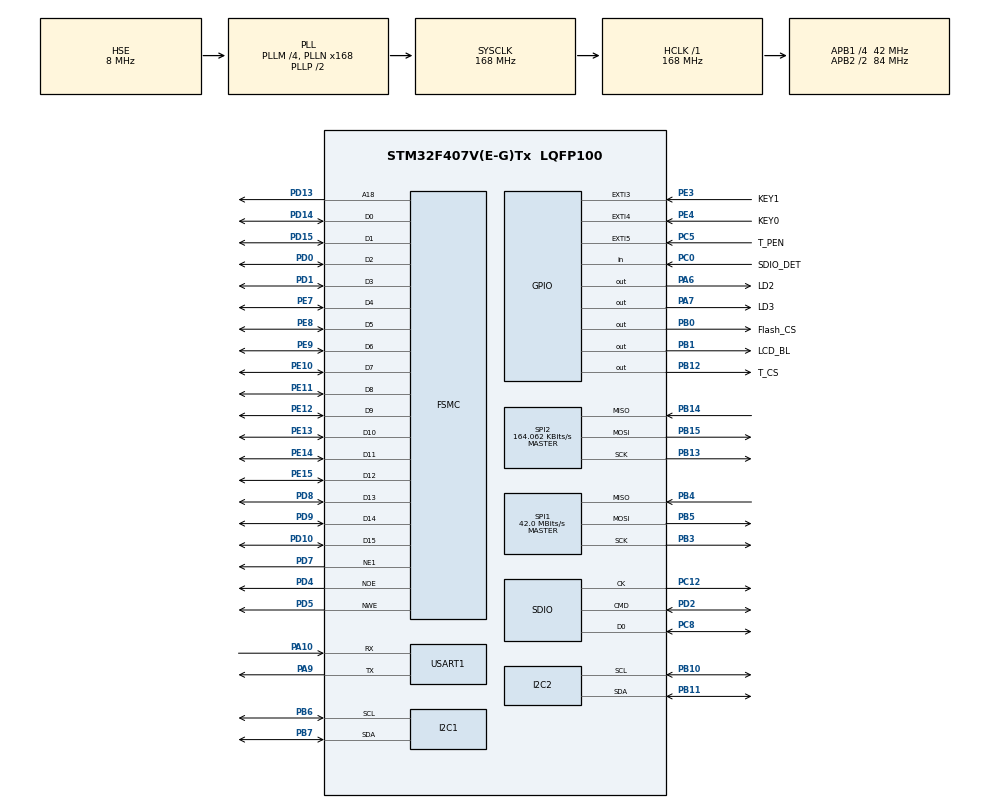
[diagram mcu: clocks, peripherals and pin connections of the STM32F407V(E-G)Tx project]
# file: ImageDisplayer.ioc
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Dma.Request0=SDIO_RX
Dma.Request1=SDIO_TX
Dma.SDIO_RX.0.Direction=DMA_PERIPH_TO_MEMORY
Dma.SDIO_RX.0.FIFOMode=DMA_FIFOMODE_ENABLE
Dma.SDIO_RX.0.FIFOThreshold=DMA_FIFO_THRESHOLD_FULL
Dma.SDIO_RX.0.Instance=DMA2_Stream3
Dma.SDIO_RX.0.MemBurst=DMA_MBURST_INC4
Dma.SDIO_RX.0.MemDataAlignment=DMA_MDATAALIGN_WORD
Dma.SDIO_RX.0.MemInc=DMA_MINC_ENABLE
Dma.SDIO_RX.0.Mode=DMA_PFCTRL
Dma.SDIO_RX.0.PeriphBurst=DMA_PBURST_INC4
Dma.SDIO_RX.0.PeriphDataAlignment=DMA_PDATAALIGN_WORD
Dma.SDIO_RX.0.PeriphInc=DMA_PINC_DISABLE
Dma.SDIO_RX.0.Priority=DMA_PRIORITY_LOW
Dma.SDIO_TX.1.Direction=DMA_MEMORY_TO_PERIPH
Dma.SDIO_TX.1.FIFOMode=DMA_FIFOMODE_ENABLE
Dma.SDIO_TX.1.FIFOThreshold=DMA_FIFO_THRESHOLD_FULL
Dma.SDIO_TX.1.Instance=DMA2_Stream6
Dma.SDIO_TX.1.MemBurst=DMA_MBURST_INC4
Dma.SDIO_TX.1.MemDataAlignment=DMA_MDATAALIGN_WORD
Dma.SDIO_TX.1.MemInc=DMA_MINC_ENABLE
Dma.SDIO_TX.1.Mode=DMA_PFCTRL
Dma.SDIO_TX.1.PeriphBurst=DMA_PBURST_INC4
Dma.SDIO_TX.1.PeriphDataAlignment=DMA_PDATAALIGN_WORD
Dma.SDIO_TX.1.PeriphInc=DMA_PINC_DISABLE
Dma.SDIO_TX.1.Priority=DMA_PRIORITY_LOW
FATFS.BSP.number=1
FATFS.USE_DMA_CODE_SD=1
FATFS._MAX_SS=4096
FATFS0.BSP.STBoard=false
FATFS0.BSP.api=Unknown
FATFS0.BSP.instance=PC0
FATFS0.BSP.ip=GPIO
FATFS0.BSP.mode=Input
FATFS0.BSP.name=Detect_SDIO
FATFS0.BSP.solution=PC0
FSMC.AddressSetupTime1=1
FSMC.BusTurnAroundDuration1=0
FSMC.DataSetupTime1=5
FSMC.ExtendedMode1=FSMC_EXTENDED_MODE_DISABLE
I2C1.I2C_Mode=I2C_Fast
I2C2.I2C_Mode=I2C_Fast
Mcu.Family=STM32F4
Mcu.Name=STM32F407V(E-G)Tx
Mcu.Package=LQFP100
NVIC.DMA2_Stream3_IRQn=true\:0\:0\:false\:false\:true\:false\:true\:true
NVIC.DMA2_Stream6_IRQn=true\:0\:0\:false\:false\:true\:false\:true\:true
NVIC.EXTI3_IRQn=true\:0\:0\:false\:false\:true\:true\:true\:true
NVIC.EXTI4_IRQn=true\:0\:0\:false\:false\:true\:true\:true\:true
NVIC.EXTI9_5_IRQn=true\:0\:0\:false\:false\:true\:true\:true\:true
NVIC.PriorityGroup=NVIC_PRIORITYGROUP_4
NVIC.SDIO_IRQn=true\:0\:0\:false\:false\:true\:true\:true\:true
NVIC.TIM6_DAC_IRQn=true\:0\:0\:false\:false\:true\:true\:true\:true
PA10.Mode=Asynchronous
PA10.Signal=USART1_RX
PA13.Mode=Serial_Wire
PA13.Signal=SYS_JTMS-SWDIO
PA14.Mode=Serial_Wire
PA14.Signal=SYS_JTCK-SWCLK
PA6.GPIO_Label=LD2
PA6.PinState=GPIO_PIN_SET
PA6.Signal=GPIO_Output
PA7.GPIO_Label=LD3
PA7.PinState=GPIO_PIN_SET
PA7.Signal=GPIO_Output
PA9.Mode=Asynchronous
PA9.Signal=USART1_TX
PB0.GPIO_Label=Flash_CS
PB0.GPIO_Speed=GPIO_SPEED_FREQ_VERY_HIGH
PB0.PinState=GPIO_PIN_RESET
PB0.Signal=GPIO_Output
PB1.GPIO_Label=LCD_BL
PB1.Signal=GPIO_Output
PB10.Mode=I2C
PB10.Signal=I2C2_SCL
PB11.Mode=I2C
PB11.Signal=I2C2_SDA
PB12.GPIO_Label=T_CS
PB12.GPIO_PuPd=GPIO_PULLUP
PB12.PinState=GPIO_PIN_SET
PB12.Signal=GPIO_Output
PB13.Mode=Full_Duplex_Master
PB13.Signal=SPI2_SCK
PB14.Mode=Full_Duplex_Master
PB14.Signal=SPI2_MISO
PB15.Mode=Full_Duplex_Master
PB15.Signal=SPI2_MOSI
PB3.Mode=Full_Duplex_Master
PB3.Signal=SPI1_SCK
PB4.Mode=Full_Duplex_Master
PB4.Signal=SPI1_MISO
PB5.Mode=Full_Duplex_Master
PB5.Signal=SPI1_MOSI
PB6.GPIO_Pu=GPIO_PULLUP
PB6.Mode=I2C
PB6.Signal=I2C1_SCL
PB7.GPIO_Pu=GPIO_PULLUP
PB7.Mode=I2C
PB7.Signal=I2C1_SDA
PC0.GPIO_Label=SDIO_DET
PC0.GPIO_PuPd=GPIO_PULLDOWN
PC0.Signal=GPIO_Input
PC10.GPIO_Label=uSD_D2
PC10.Signal=SDIO_D2
PC11.GPIO_Label=uSD_D3
PC11.Signal=SDIO_D3
PC12.Mode=SD_1_bit
PC12.Signal=SDIO_CK
PC14-OSC32_IN.Mode=LSE-External-Oscillator
PC14-OSC32_IN.Signal=RCC_OSC32_IN
PC15-OSC32_OUT.Mode=LSE-External-Oscillator
PC15-OSC32_OUT.Signal=RCC_OSC32_OUT
PC5.GPIO_Label=T_PEN
PC5.GPIO_ModeDefaultEXTI=GPIO_MODE_IT_FALLING
PC5.GPIO_PuPd=GPIO_PULLUP
PC5.Signal=GPXTI5
PC8.Mode=SD_1_bit
PC8.Signal=SDIO_D0
PC9.GPIO_Label=uSD_D1
PC9.Signal=SDIO_D1
PD0.Mode=16b-d1
PD0.Signal=FSMC_D2
PD1.Mode=16b-d1
PD1.Signal=FSMC_D3
PD10.Mode=16b-d1
PD10.Signal=FSMC_D15
PD13.Mode=A18_1
PD13.Signal=FSMC_A18
PD14.Mode=16b-d1
PD14.Signal=FSMC_D0
PD15.Mode=16b-d1
PD15.Signal=FSMC_D1
PD2.Mode=SD_1_bit
PD2.Signal=SDIO_CMD
PD4.Mode=Lcd1
PD4.Signal=FSMC_NOE
PD5.Mode=Lcd1
PD5.Signal=FSMC_NWE
PD7.Mode=NorPsramChipSelect1_1
PD7.Signal=FSMC_NE1
PD8.Mode=16b-d1
PD8.Signal=FSMC_D13
PD9.Mode=16b-d1
PD9.Signal=FSMC_D14
PE10.Mode=16b-d1
PE10.Signal=FSMC_D7
PE11.Mode=16b-d1
PE11.Signal=FSMC_D8
PE12.Mode=16b-d1
PE12.Signal=FSMC_D9
PE13.Mode=16b-d1
PE13.Signal=FSMC_D10
PE14.Mode=16b-d1
PE14.Signal=FSMC_D11
PE15.Mode=16b-d1
PE15.Signal=FSMC_D12
PE3.GPIO_Label=KEY1
PE3.GPIO_ModeDefaultEXTI=GPIO_MODE_IT_FALLING
PE3.GPIO_PuPd=GPIO_PULLUP
PE3.Signal=GPXTI3
PE4.GPIO_Label=KEY0
PE4.GPIO_ModeDefaultEXTI=GPIO_MODE_IT_FALLING
PE4.GPIO_PuPd=GPIO_PULLUP
PE4.Signal=GPXTI4
PE7.Mode=16b-d1
PE7.Signal=FSMC_D4
PE8.Mode=16b-d1
PE8.Signal=FSMC_D5
PE9.Mode=16b-d1
PE9.Signal=FSMC_D6
PH0-OSC_IN.Mode=HSE-External-Oscillator
PH0-OSC_IN.Signal=RCC_OSC_IN
PH1-OSC_OUT.Mode=HSE-External-Oscillator
PH1-OSC_OUT.Signal=RCC_OSC_OUT
ProjectManager.HeapSize=0x200
ProjectManager.StackSize=0x400
ProjectManager.TargetToolchain=STM32CubeIDE
RCC.48MHZClocksFreq_Value=48000000
RCC.AHBFreq_Value=168000000
RCC.APB1CLKDivider=RCC_HCLK_DIV4
RCC.APB1Freq_Value=42000000
RCC.APB1TimFreq_Value=84000000
RCC.APB2CLKDivider=RCC_HCLK_DIV2
RCC.APB2Freq_Value=84000000
RCC.APB2TimFreq_Value=168000000
RCC.CortexFreq_Value=168000000
RCC.HCLKFreq_Value=168000000
RCC.HSE_VALUE=8000000
RCC.HSI_VALUE=16000000
RCC.PLLM=4
RCC.PLLN=168
RCC.PLLQ=7
RCC.PLLSourceVirtual=RCC_PLLSOURCE_HSE
RCC.RCC_RTC_Clock_Source=RCC_RTCCLKSOURCE_LSE
RCC.RCC_RTC_Clock_SourceVirtual=RCC_RTCCLKSOURCE_LSE
RCC.SYSCLKFreq_VALUE=168000000
RCC.SYSCLKSource=RCC_SYSCLKSOURCE_PLLCLK
RCC.VCOOutputFreq_Value=336000000
SDIO.ClockDiv=0
SPI1.CalculateBaudRate=42.0 MBits/s
SPI1.Direction=SPI_DIRECTION_2LINES
SPI1.Mode=SPI_MODE_MASTER
SPI1.VirtualType=VM_MASTER
SPI2.BaudRatePrescaler=SPI_BAUDRATEPRESCALER_256
SPI2.CalculateBaudRate=164.062 KBits/s
SPI2.DataSize=SPI_DATASIZE_8BIT
SPI2.Direction=SPI_DIRECTION_2LINES
SPI2.Mode=SPI_MODE_MASTER
SPI2.VirtualType=VM_MASTER
STMicroelectronics.X-CUBE-TOUCHGFX.4.21.4.tgfx_block_size=1920
STMicroelectronics.X-CUBE-TOUCHGFX.4.21.4.tgfx_buffering_strategy=Partial
STMicroelectronics.X-CUBE-TOUCHGFX.4.21.4.tgfx_custom_height=320
STMicroelectronics.X-CUBE-TOUCHGFX.4.21.4.tgfx_custom_width=240
STMicroelectronics.X-CUBE-TOUCHGFX.4.21.4.tgfx_display_interface=disp_fmc
STMicroelectronics.X-CUBE-TOUCHGFX.4.21.4.tgfx_number_of_blocks=5
STMicroelectronics.X-CUBE-TOUCHGFX.4.21.4_IsPackSelfContextualization=true
TIM6.Period=1000
USART1.VirtualMode=VM_ASYNC
VP_FATFS_VS_SDIO.Mode=SDIO
VP_LIBJPEG_VS_JPEGLIB.Mode=Enabled
VP_TIM6_VS_ClockSourceINT.Mode=Enable_Timer
board=custom

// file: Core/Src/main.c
/* USER CODE BEGIN Header */
/**
  ******************************************************************************
  * @file           : main.c
  * @brief          : Main program body
  ******************************************************************************
  * @attention
  *
  * Copyright (c) 2024 STMicroelectronics.
  * All rights reserved.
  *
  * This software is licensed under terms that can be found in the LICENSE file
  * in the root directory of this software component.
  * If no LICENSE file comes with this software, it is provided AS-IS.
  *
  ******************************************************************************
  */
/* USER CODE END Header */
#include "main.h"
#include "dma.h"
#include "fatfs.h"
#include "i2c.h"
#include "libjpeg.h"
#include "sdio.h"
#include "spi.h"
#include "tim.h"
#include "usart.h"
#include "gpio.h"
#include "fsmc.h"

/* USER CODE BEGIN Includes */
#include "ili9341.h"
#include "XPT2046_touch.h"
#include "jpeg_view.h"
#include "File_Handling.h"

#include "touchscreen_button.h"
#include "text_field.h"

#include <stdio.h>
#include <stdbool.h>
/* USER CODE END Includes */

/* USER CODE BEGIN PV */
FATFS myFatFS;
FIL myFile;
UINT myBytes;

UINT iw =640, ih=480;

const uint16_t color_line = COLOR_WHITE;
const uint16_t color_text = COLOR_WHITE;
const uint16_t color_bg = COLOR_BLACK;

Button button_prev = {
	.x = 10, .y = 270,
	.width = 40, .height = 40,
	.font = &Font16,
	.is_pressed = false,
	.color_text = color_bg, .color_bg = color_text,
	.color_text_pressed = color_text, .color_bg_pressed = color_bg,
	.text = "<-"
};

Button button_next = {
	.x = 60, .y = 270,
	.width = 40, .height = 40,
	.font = &Font16,
	.is_pressed = false,
	.color_text = color_bg, .color_bg = color_text,
	.color_text_pressed = color_text, .color_bg_pressed = color_bg,
	.text = "->"
};

TextField text_filename = {
	.x = 110, .y = 270,
	.width = 120, .height = 40,
	.font = &Font16,
	.color_text = color_text, .color_bg = color_bg, .color_frame = color_text,
	.text = "",
	.horizontal_alignment = ALIGN_BEGIN,
	.vertical_alignment = ALIGN_CENTER,
};

bool debounce_flag = false;

uint16_t img_index = 0;
uint16_t num_images = 0;
char image_filenames[16][13];

/* USER CODE END PV */

void SystemClock_Config(void);
/* USER CODE BEGIN PFP */

void SetImage(uint16_t img_index);

/* USER CODE END PFP */

/* USER CODE BEGIN 0 */

int _write(int file, char *ptr, int len)
{
	HAL_UART_Transmit(&huart1, (uint8_t *) ptr, len, HAL_MAX_DELAY);
	return len;
}

/* USER CODE END 0 */

int main(void)
{

  /* MCU Configuration--------------------------------------------------------*/

  /* Reset of all peripherals, Initializes the Flash interface and the Systick. */
  HAL_Init();

  /* Configure the system clock */
  SystemClock_Config();

  /* Initialize all configured peripherals */
  MX_GPIO_Init();
  MX_DMA_Init();
  MX_FSMC_Init();
  MX_USART1_UART_Init();
  MX_SPI2_Init();
  MX_I2C1_Init();
  MX_I2C2_Init();
  MX_SPI1_Init();
  MX_SDIO_SD_Init();
  MX_FATFS_Init();
  MX_LIBJPEG_Init();
  MX_TIM6_Init();
  /* USER CODE BEGIN 2 */

  printf("\x1b[2J\x1b[;H");
  printf("\nInitializing ImageDisplayer\r\n\n");

// Init LCD
   lcdBacklightOn();
   lcdInit();
   lcdSetOrientation(LCD_ORIENTATION_PORTRAIT_MIRROR);
   lcdFillRGB(color_bg);

   Button_Draw(&button_next);
   Button_Draw(&button_prev);
   TextField_Draw(&text_filename);

    Mount_SD("/");
    num_images = GetFilenames(image_filenames, "/img", "jpg");

    printf("%d images found:\r\n", num_images);

    for (uint16_t i = 0; i < num_images; ++i)
    {
    	printf("%s\r\n", image_filenames[i]);
    }

    printf("\n");

    SetImage(img_index);

  /* USER CODE END 2 */

  /* Infinite loop */
  while (1)
  {

  }
}

void SystemClock_Config(void)
{
  RCC_OscInitTypeDef RCC_OscInitStruct = {0};
  RCC_ClkInitTypeDef RCC_ClkInitStruct = {0};

  /** Configure the main internal regulator output voltage
  */
  __HAL_RCC_PWR_CLK_ENABLE();
  __HAL_PWR_VOLTAGESCALING_CONFIG(PWR_REGULATOR_VOLTAGE_SCALE1);

  /** Initializes the RCC Oscillators according to the specified parameters
  * in the RCC_OscInitTypeDef structure.
  */
  RCC_OscInitStruct.OscillatorType = RCC_OSCILLATORTYPE_HSE;
  RCC_OscInitStruct.HSEState = RCC_HSE_ON;
  RCC_OscInitStruct.PLL.PLLState = RCC_PLL_ON;
  RCC_OscInitStruct.PLL.PLLSource = RCC_PLLSOURCE_HSE;
  RCC_OscInitStruct.PLL.PLLM = 4;
  RCC_OscInitStruct.PLL.PLLN = 168;
  RCC_OscInitStruct.PLL.PLLP = RCC_PLLP_DIV2;
  RCC_OscInitStruct.PLL.PLLQ = 7;
  if (HAL_RCC_OscConfig(&RCC_OscInitStruct) != HAL_OK)
  {
    Error_Handler();
  }

  /** Initializes the CPU, AHB and APB buses clocks
  */
  RCC_ClkInitStruct.ClockType = RCC_CLOCKTYPE_HCLK|RCC_CLOCKTYPE_SYSCLK
                              |RCC_CLOCKTYPE_PCLK1|RCC_CLOCKTYPE_PCLK2;
  RCC_ClkInitStruct.SYSCLKSource = RCC_SYSCLKSOURCE_PLLCLK;
  RCC_ClkInitStruct.AHBCLKDivider = RCC_SYSCLK_DIV1;
  RCC_ClkInitStruct.APB1CLKDivider = RCC_HCLK_DIV4;
  RCC_ClkInitStruct.APB2CLKDivider = RCC_HCLK_DIV2;

  if (HAL_RCC_ClockConfig(&RCC_ClkInitStruct, FLASH_LATENCY_5) != HAL_OK)
  {
    Error_Handler();
  }
}

/* USER CODE BEGIN 4 */

void SetImage(uint16_t img_index)
{
//	char buf[18];
//	sprintf(buf, "img/%s", image_filenames[img_index]);

	JPGRESULT res = jpeg_screen_view("/img/", image_filenames[img_index], 0, 0, 240, 280, &iw, &ih);

	printf("Loading image: %s\r\n", image_filenames[img_index]);
	TextField_SetText(&text_filename, image_filenames[img_index]);
	TextField_Draw(&text_filename);

	if (res == JPG_MOUNT_ERROR)
	{
		printf("JPG mount error\r\n");
		return;
	}
	else if (res == JPG_OPEN_ERROR)
	{
		printf("JPG open error\r\n");
		return;
	}
	else if (res == JPG_DECODE_ERROR)
	{
		printf("JPG decode error\r\n");
		return;
	}
	else
	{

		printf("Image loaded. Size: %u x %u\r\n", iw, ih);
	}
}

void  HAL_GPIO_EXTI_Callback ( uint16_t GPIO_Pin)
{
	if (GPIO_Pin == T_PEN_Pin)
	{
		if (XPT2046_TouchPressed())
		{
			if (debounce_flag)
			{
				return;
			}
			debounce_flag = true;
			HAL_TIM_Base_Start_IT(&htim6); /* Start debouncing timer */

			/* Handle button press */
			uint16_t x = 0, y = 0;
			if (!XPT2046_TouchGetCoordinates(&x, &y))
			{
				return;
			}

			if (Button_IsPressed(&button_next, x, y))
			{
				Button_SetState(&button_next, true);
				Button_Draw(&button_next);

				img_index = (img_index + 1) % num_images;
				SetImage(img_index);
			}
			else if (Button_IsPressed(&button_prev, x, y))
			{
				Button_SetState(&button_prev, true);
				Button_Draw(&button_prev);

				img_index = (img_index - 1) % num_images;
				SetImage(img_index);
			}
		}
		else
		{
			/* Handle button release */
			Button_SetState(&button_next, false);
			Button_Draw(&button_next);
			Button_SetState(&button_prev, false);
			Button_Draw(&button_prev);
			return;
		}
	}
}

void HAL_TIM_PeriodElapsedCallback(TIM_HandleTypeDef *htim)
{
	if (htim == &htim6)
	{
		HAL_TIM_Base_Stop_IT(&htim6);
		debounce_flag = false;
	}
}

/* USER CODE END 4 */

void Error_Handler(void)
{
  __disable_irq();
  while (1)
  {
  }
}
